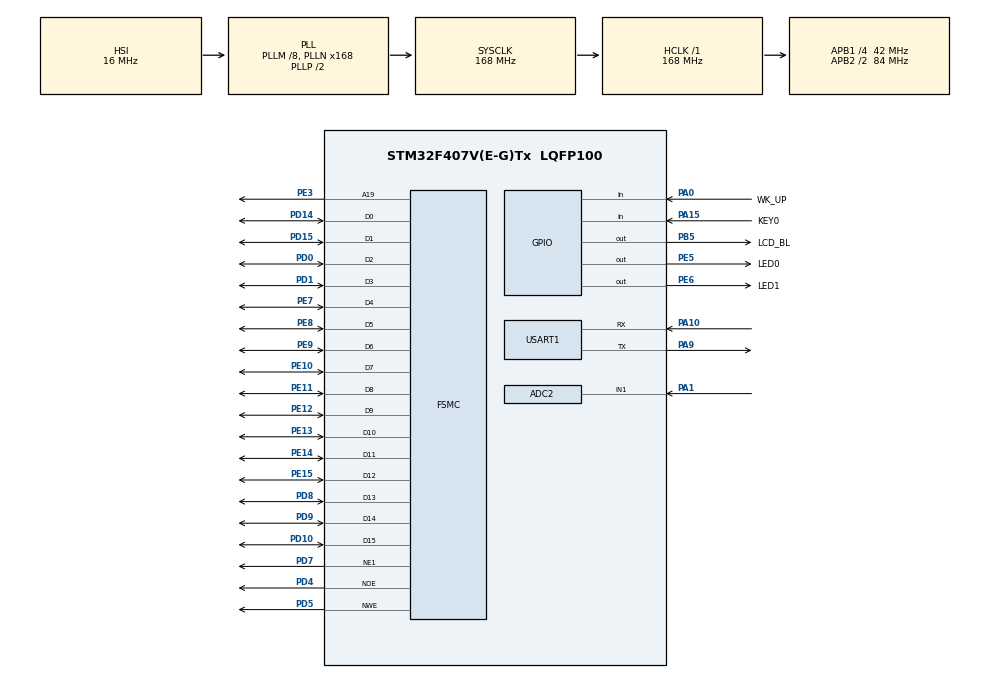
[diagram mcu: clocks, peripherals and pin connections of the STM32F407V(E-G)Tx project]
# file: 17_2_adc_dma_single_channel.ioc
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ADC2.Channel-0\#ChannelRegularConversion=ADC_CHANNEL_1
ADC2.ContinuousConvMode=ENABLE
ADC2.NbrOfConversionFlag=1
ADC2.Rank-0\#ChannelRegularConversion=1
ADC2.SamplingTime-0\#ChannelRegularConversion=ADC_SAMPLETIME_480CYCLES
Dma.ADC2.0.Direction=DMA_PERIPH_TO_MEMORY
Dma.ADC2.0.FIFOMode=DMA_FIFOMODE_DISABLE
Dma.ADC2.0.Instance=DMA2_Stream2
Dma.ADC2.0.MemDataAlignment=DMA_MDATAALIGN_HALFWORD
Dma.ADC2.0.MemInc=DMA_MINC_ENABLE
Dma.ADC2.0.Mode=DMA_NORMAL
Dma.ADC2.0.PeriphDataAlignment=DMA_PDATAALIGN_HALFWORD
Dma.ADC2.0.PeriphInc=DMA_PINC_DISABLE
Dma.ADC2.0.Priority=DMA_PRIORITY_MEDIUM
Dma.Request0=ADC2
FSMC.AddressSetupTime1=15
FSMC.BusTurnAroundDuration1=0
FSMC.DataSetupTime1=60
FSMC.ExtendedAddressSetupTime1=9
FSMC.ExtendedDataSetupTime1=9
FSMC.ExtendedMode1=FSMC_EXTENDED_MODE_ENABLE
Mcu.Family=STM32F4
Mcu.Name=STM32F407V(E-G)Tx
Mcu.Package=LQFP100
NVIC.DMA2_Stream2_IRQn=true\:2\:1\:true\:false\:true\:false\:true\:true
NVIC.PriorityGroup=NVIC_PRIORITYGROUP_2
NVIC.USART1_IRQn=true\:2\:2\:true\:false\:true\:true\:true\:true
PA0-WKUP.GPIO_Label=WK_UP
PA0-WKUP.GPIO_PuPd=GPIO_PULLDOWN
PA0-WKUP.Signal=GPIO_Input
PA1.Signal=ADCx_IN1
PA10.Mode=Asynchronous
PA10.Signal=USART1_RX
PA13.Mode=Serial_Wire
PA13.Signal=SYS_JTMS-SWDIO
PA14.Mode=Serial_Wire
PA14.Signal=SYS_JTCK-SWCLK
PA15.GPIO_Label=KEY0
PA15.GPIO_PuPd=GPIO_PULLDOWN
PA15.Signal=GPIO_Input
PA9.Mode=Asynchronous
PA9.Signal=USART1_TX
PB5.GPIO_Label=LCD_BL
PB5.GPIO_PuPd=GPIO_PULLUP
PB5.GPIO_Speed=GPIO_SPEED_FREQ_HIGH
PB5.PinState=GPIO_PIN_SET
PB5.Signal=GPIO_Output
PC14-OSC32_IN.Mode=LSE-External-Oscillator
PC14-OSC32_IN.Signal=RCC_OSC32_IN
PC15-OSC32_OUT.Mode=LSE-External-Oscillator
PC15-OSC32_OUT.Signal=RCC_OSC32_OUT
PD0.Mode=16b-d1
PD0.Signal=FSMC_D2
PD1.Mode=16b-d1
PD1.Signal=FSMC_D3
PD10.Mode=16b-d1
PD10.Signal=FSMC_D15
PD14.Mode=16b-d1
PD14.Signal=FSMC_D0
PD15.Mode=16b-d1
PD15.Signal=FSMC_D1
PD4.Mode=Lcd1
PD4.Signal=FSMC_NOE
PD5.Mode=Lcd1
PD5.Signal=FSMC_NWE
PD7.Mode=NorPsramChipSelect1_1
PD7.Signal=FSMC_NE1
PD8.Mode=16b-d1
PD8.Signal=FSMC_D13
PD9.Mode=16b-d1
PD9.Signal=FSMC_D14
PE10.Mode=16b-d1
PE10.Signal=FSMC_D7
PE11.Mode=16b-d1
PE11.Signal=FSMC_D8
PE12.Mode=16b-d1
PE12.Signal=FSMC_D9
PE13.Mode=16b-d1
PE13.Signal=FSMC_D10
PE14.Mode=16b-d1
PE14.Signal=FSMC_D11
PE15.Mode=16b-d1
PE15.Signal=FSMC_D12
PE3.Mode=A19_1
PE3.Signal=FSMC_A19
PE5.GPIO_Label=LED0
PE5.GPIO_PuPd=GPIO_PULLUP
PE5.GPIO_Speed=GPIO_SPEED_FREQ_HIGH
PE5.PinState=GPIO_PIN_SET
PE5.Signal=GPIO_Output
PE6.GPIO_Label=LED1
PE6.GPIO_PuPd=GPIO_PULLUP
PE6.GPIO_Speed=GPIO_SPEED_FREQ_HIGH
PE6.PinState=GPIO_PIN_SET
PE6.Signal=GPIO_Output
PE7.Mode=16b-d1
PE7.Signal=FSMC_D4
PE8.Mode=16b-d1
PE8.Signal=FSMC_D5
PE9.Mode=16b-d1
PE9.Signal=FSMC_D6
PH0-OSC_IN.Mode=HSE-External-Oscillator
PH0-OSC_IN.Signal=RCC_OSC_IN
PH1-OSC_OUT.Mode=HSE-External-Oscillator
PH1-OSC_OUT.Signal=RCC_OSC_OUT
ProjectManager.HeapSize=0x200
ProjectManager.StackSize=0x400
ProjectManager.TargetToolchain=STM32CubeIDE
RCC.48MHZClocksFreq_Value=84000000
RCC.AHBFreq_Value=168000000
RCC.APB1CLKDivider=RCC_HCLK_DIV4
RCC.APB1Freq_Value=42000000
RCC.APB1TimFreq_Value=84000000
RCC.APB2CLKDivider=RCC_HCLK_DIV2
RCC.APB2Freq_Value=84000000
RCC.APB2TimFreq_Value=168000000
RCC.CortexFreq_Value=168000000
RCC.HCLKFreq_Value=168000000
RCC.HSE_VALUE=25000000
RCC.HSI_VALUE=16000000
RCC.PLLM=8
RCC.PLLN=168
RCC.SYSCLKFreq_VALUE=168000000
RCC.SYSCLKSource=RCC_SYSCLKSOURCE_PLLCLK
RCC.VCOOutputFreq_Value=336000000
SH.ADCx_IN1.0=ADC2_IN1,IN1
USART1.VirtualMode=VM_ASYNC
board=custom

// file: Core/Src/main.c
/**
 ****************************************************************************************************
 * @file        main.c
 * @author      ALIENTEK
 * @brief       adc_dma_single_channel code
 * @license     Copyright (C) 2012-2024, ALIENTEK
 ****************************************************************************************************
 * @attention
 *
 * platform     : ALIENTEK M100-STM32F407 board
 * website      : www.alientek.com
 * forum        : www.openedv.com/forum.php
 *
 * change logs  :
 * version      data         notes
 * V1.0         20240409     the first version
 *
 ****************************************************************************************************
 */

 /* USER CODE BEGIN Header */

/* USER CODE END Header */
#include "main.h"
#include "adc.h"
#include "dma.h"
#include "usart.h"
#include "gpio.h"
#include "fsmc.h"

/* USER CODE BEGIN Includes */
#include "../../BSP/LED/led.h"
#include "../../BSP/KEY/key.h"
#include "../../BSP/LCD/lcd.h"
/* USER CODE END Includes */

/* USER CODE BEGIN PD */
/**
 * @brief   Displays information about the experiment
 * @param   None
 * @retval  None
 */
void stm32f407vg_show_mesg(void)
{
	/* The serial port outputs the experimental information */
	printf("\n");
	printf("********************************\r\n");
	printf("STM32F407\r\n");
	printf("ADC_DMA_Single_Channel Test\r\n");
	printf("ATOM@ALIENTEK\r\n");
	printf("********************************\r\n");
	printf("\r\n");
}
/* USER CODE END PD */

/* USER CODE BEGIN PV */
#define ADC_DMA_BUF_SIZE 50                      /* ADC DMA buffer size */
static uint16_t g_adc_dma_buf[ADC_DMA_BUF_SIZE]; /* ADC DMA buffer */

extern uint8_t g_adc_dma_sta; /* DMA transfer completion flag */
extern DMA_HandleTypeDef hdma_adc2;
/* USER CODE END PV */

void SystemClock_Config(void);

int main(void)
{
  /* USER CODE BEGIN 1 */
  uint16_t adc_result;
  uint16_t voltage;
  /* USER CODE END 1 */

  /* MCU Configuration--------------------------------------------------------*/

  /* Reset of all peripherals, Initializes the Flash interface and the Systick. */
  HAL_Init();

  /* Configure the system clock */
  SystemClock_Config();

  /* Initialize all configured peripherals */
  MX_GPIO_Init();
  MX_DMA_Init();
  MX_USART1_UART_Init();
  MX_FSMC_Init();
  MX_ADC2_Init();
  /* USER CODE BEGIN 2 */
  lcd_init();                                         /* Initialize LCD */
  stm32f407vg_show_mesg();
  HAL_DMA_Start_IT(&hdma_adc2, (uint32_t)&ADC2->DR, (uint32_t)&g_adc_dma_buf, 0);
  HAL_ADC_Start_DMA(&hadc2, (uint32_t *)g_adc_dma_buf, ADC_DMA_BUF_SIZE);

  lcd_show_string(30, 50, 200, 16, 16, "STM32", RED);
  lcd_show_string(30, 70, 200, 16, 16, "ADC DMA TEST", RED);
  lcd_show_string(30, 90, 200, 16, 16, "ATOM@ALIENTEK", RED);

  lcd_show_string(30, 110, 200, 16, 16, "ADC2_CH1_VAL:0", BLUE);
  lcd_show_string(30, 130, 200, 16, 16, "ADC2_CH1_VOL:0.000V", BLUE);

  adc_dma_enable(ADC_DMA_BUF_SIZE);   /* Start the ADC DMA acquisition */
  /* USER CODE END 2 */

  /* Infinite loop */
  /* USER CODE BEGIN WHILE */
  while (1)
  {
	  adc_result = adc_get_result_average(10);     /* The ADC results are obtained by mean filtering */
	  lcd_show_xnum(134, 110, adc_result, 5, 16, 0, BLUE);

	  voltage = (adc_result * 3300) / 4095;                       /* Calculate the actual voltage value (1000 times larger) */
	  lcd_show_xnum(134, 130, voltage / 1000, 1, 16, 0, BLUE);
	  lcd_show_xnum(150, 130, voltage % 1000, 3, 16, 0x80, BLUE);

	  LED0_TOGGLE();             /* flashing LED0 indicates that the system is running */
	  HAL_Delay(1000);   		 /* delay 1000ms */
    /* USER CODE END WHILE */

  }
}

void SystemClock_Config(void)
{
  RCC_OscInitTypeDef RCC_OscInitStruct = {0};
  RCC_ClkInitTypeDef RCC_ClkInitStruct = {0};

  /** Configure the main internal regulator output voltage
  */
  __HAL_RCC_PWR_CLK_ENABLE();
  __HAL_PWR_VOLTAGESCALING_CONFIG(PWR_REGULATOR_VOLTAGE_SCALE1);

  /** Initializes the RCC Oscillators according to the specified parameters
  * in the RCC_OscInitTypeDef structure.
  */
  RCC_OscInitStruct.OscillatorType = RCC_OSCILLATORTYPE_HSI;
  RCC_OscInitStruct.HSIState = RCC_HSI_ON;
  RCC_OscInitStruct.HSICalibrationValue = RCC_HSICALIBRATION_DEFAULT;
  RCC_OscInitStruct.PLL.PLLState = RCC_PLL_ON;
  RCC_OscInitStruct.PLL.PLLSource = RCC_PLLSOURCE_HSI;
  RCC_OscInitStruct.PLL.PLLM = 8;
  RCC_OscInitStruct.PLL.PLLN = 168;
  RCC_OscInitStruct.PLL.PLLP = RCC_PLLP_DIV2;
  RCC_OscInitStruct.PLL.PLLQ = 4;
  if (HAL_RCC_OscConfig(&RCC_OscInitStruct) != HAL_OK)
  {
    Error_Handler();
  }

  /** Initializes the CPU, AHB and APB buses clocks
  */
  RCC_ClkInitStruct.ClockType = RCC_CLOCKTYPE_HCLK|RCC_CLOCKTYPE_SYSCLK
                              |RCC_CLOCKTYPE_PCLK1|RCC_CLOCKTYPE_PCLK2;
  RCC_ClkInitStruct.SYSCLKSource = RCC_SYSCLKSOURCE_PLLCLK;
  RCC_ClkInitStruct.AHBCLKDivider = RCC_SYSCLK_DIV1;
  RCC_ClkInitStruct.APB1CLKDivider = RCC_HCLK_DIV4;
  RCC_ClkInitStruct.APB2CLKDivider = RCC_HCLK_DIV2;

  if (HAL_RCC_ClockConfig(&RCC_ClkInitStruct, FLASH_LATENCY_5) != HAL_OK)
  {
    Error_Handler();
  }
}

void Error_Handler(void)
{
  __disable_irq();
  while (1)
  {
  }
}
